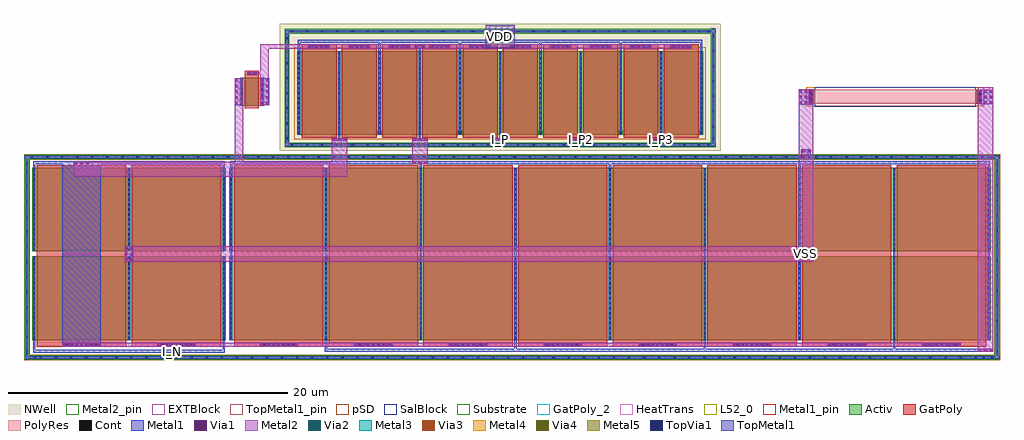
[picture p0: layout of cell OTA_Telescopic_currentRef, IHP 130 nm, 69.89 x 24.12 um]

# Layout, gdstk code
from math import pi, radians
import gdstk
lib = gdstk.Library(unit=1e-6, precision=1e-09)
def R(c, l, rs):  # rectangles x0, y0, x1, y1
    for r in rs: c.add(gdstk.rectangle(r[:2], r[2:], *l))
def A(c, l, x, y, w, h, nx, ny, dx, dy):  # array of equal rectangles
    R(c, l, [(x+i*dx, y+j*dy, x+i*dx+w, y+j*dy+h) for i in range(nx) for j in range(ny)])
Activ = (1, 0)
GatPoly = (5, 0)
GatPoly_2 = (5, 2)
Cont = (6, 0)
Metal1 = (8, 0)
Metal1_pin = (8, 2)
Metal2 = (10, 0)
Metal2_pin = (10, 2)
pSD = (14, 0)
Via1 = (19, 0)
SalBlock = (28, 0)
Via2 = (29, 0)
Metal3 = (30, 0)
NWell = (31, 0)
Substrate = (40, 0)
Via3 = (49, 0)
Metal4 = (50, 0)
HeatTrans = (51, 0)
L52_0 = (52, 0)
Via4 = (66, 0)
Metal5 = (67, 0)
EXTBlock = (111, 0)
TopVia1 = (125, 0)
TopMetal1 = (126, 0)
TopMetal1_pin = (126, 2)
PolyRes = (128, 0)

nmos_1 = lib.new_cell('nmos$1')
R(nmos_1, Activ, [(0,0,0.3,0.3), (0,0,1.68,2), (1.38,0,1.68,0.3)])
R(nmos_1, GatPoly, [(0.34,-0.18,1.34,2.18)])
R(nmos_1, GatPoly_2, [(0.34,-0.18,1.34,2.18)])
A(nmos_1, Cont, 0.07, 0.07, 0.16, 0.16, 1, 6, 0, 0.34)
A(nmos_1, Cont, 1.45, 0.07, 0.16, 0.16, 1, 6, 0, 0.34)
R(nmos_1, Metal1, [(0.07,0,0.23,2), (1.45,0,1.61,2)])
R(nmos_1, Metal1_pin, [(0.07,0,0.23,2), (1.45,0,1.61,2)])
R(nmos_1, HeatTrans, [(0.34,-0.18,1.34,2.18)])
nmos_1.add(gdstk.Label('nmos', (0.84,1), layer=63, texttype=0))
nmos_1.add(gdstk.Label('nmos', (0.84,1), layer=51, texttype=0))

pmos_1 = lib.new_cell('pmos$1')
A(pmos_1, Activ, 0, 0, 0.3, 0.3, 3, 1, 2.88, 0)
R(pmos_1, Activ, [(0,0,6.06,6)])
R(pmos_1, GatPoly, [(0.34,-0.18,2.84,6.18), (0.34,-0.18,2.84,6.18), (3.22,-0.18,5.72,6.18)])
A(pmos_1, Cont, 0.07, 0.07, 0.16, 0.16, 3, 4, 2.88, 0.355)
A(pmos_1, Cont, 0.07, 1.495, 0.16, 0.16, 3, 4, 2.88, 0.355)
A(pmos_1, Cont, 0.07, 2.92, 0.16, 0.16, 3, 4, 2.88, 0.355)
A(pmos_1, Cont, 0.07, 4.345, 0.16, 0.16, 3, 4, 2.88, 0.355)
A(pmos_1, Cont, 0.07, 5.77, 0.16, 0.16, 3, 1, 2.88, 0)
R(pmos_1, Metal1, [(0.07,0,0.23,6), (0.07,0,0.23,6), (2.95,0,3.11,6), (2.95,0,3.11,6), (5.83,0,5.99,6)])
R(pmos_1, pSD, [(-0.18,-0.3,6.24,6.3)])
R(pmos_1, NWell, [(-0.31,-0.31,6.37,6.31)])
R(pmos_1, Substrate, [(5.76,0,6.06,0.3)])
R(pmos_1, HeatTrans, [(0.34,-0.18,2.84,6.18), (3.22,-0.18,5.72,6.18)])
pmos_1.add(gdstk.Label('pmos', (1.59,3), layer=63, texttype=0))
pmos_1.add(gdstk.Label('pmos', (1.59,3), layer=51, texttype=0))
pmos_1.add(gdstk.Label('pmos', (4.47,3), layer=51, texttype=0))

rppd_1 = lib.new_cell('rppd$1')
R(rppd_1, GatPoly, [(0,-0.43,1,-0.2), (0,-0.2,1,0), (0,11.5,1,11.7), (0,11.7,1,11.93)])
R(rppd_1, Cont, [(0.07,-0.36,0.93,-0.2), (0.07,11.7,0.93,11.86)])
R(rppd_1, Metal1, [(0.02,-0.43,0.98,-0.13), (0.02,11.63,0.98,11.93)])
R(rppd_1, Metal1_pin, [(0.02,-0.43,0.98,-0.13), (0.02,11.63,0.98,11.93)])
R(rppd_1, pSD, [(-0.18,-0.61,1.18,0), (-0.18,0,1.18,11.5), (-0.18,11.5,1.18,12.11)])
R(rppd_1, SalBlock, [(-0.2,0,1.2,11.5)])
R(rppd_1, L52_0, [(0,0,1,11.5)])
R(rppd_1, EXTBlock, [(-0.18,-0.61,1.18,0), (-0.2,0,1.2,11.5), (-0.18,11.5,1.18,12.11)])
R(rppd_1, PolyRes, [(0,0,1,11.5)])
rppd_1.add(gdstk.Label('rppd r=3042.167', (0.5,5.75), layer=63, texttype=0))
rppd_1.add(gdstk.Label('rppd', (0.5,5.75), layer=52, texttype=0))

nmos = lib.new_cell('nmos')
A(nmos, Activ, 0, 0, 0.3, 0.3, 3, 1, 6.78, 0)
R(nmos, Activ, [(0,0,13.86,6)])
R(nmos, GatPoly, [(0.34,-0.18,6.74,6.18), (7.12,-0.18,13.52,6.18)])
R(nmos, GatPoly_2, [(0.34,-0.18,6.74,6.18)])
A(nmos, Cont, 0.07, 0.07, 0.16, 0.16, 3, 4, 6.78, 0.355)
A(nmos, Cont, 0.07, 1.495, 0.16, 0.16, 3, 4, 6.78, 0.355)
A(nmos, Cont, 0.07, 2.92, 0.16, 0.16, 3, 4, 6.78, 0.355)
A(nmos, Cont, 0.07, 4.345, 0.16, 0.16, 3, 4, 6.78, 0.355)
A(nmos, Cont, 0.07, 5.77, 0.16, 0.16, 3, 1, 6.78, 0)
A(nmos, Metal1, 0.07, 0, 0.16, 6, 3, 1, 6.78, 0)
R(nmos, Metal1_pin, [(0.07,0,0.23,6), (6.85,0,7.01,6)])
R(nmos, HeatTrans, [(0.34,-0.18,6.74,6.18), (7.12,-0.18,13.52,6.18)])
nmos.add(gdstk.Label('nmos', (3.54,3), layer=63, texttype=0))
nmos.add(gdstk.Label('nmos', (3.54,3), layer=51, texttype=0))
nmos.add(gdstk.Label('nmos', (10.32,3), layer=51, texttype=0))

via_stack = lib.new_cell('via_stack')
R(via_stack, GatPoly, [(-1.17,-0.15,1.17,0.15)])
A(via_stack, Cont, -1.1, -0.08, 0.16, 0.16, 7, 1, 0.34, 0)
R(via_stack, Metal1, [(-1.375,-0.105,1.375,0.105)])
R(via_stack, Metal2, [(-1.375,-0.1,1.375,0.1)])
A(via_stack, Via1, -1.325, -0.095, 0.19, 0.19, 7, 1, 0.41, 0)

gate2metal = lib.new_cell('gate2Metal')
R(gate2metal, GatPoly, [(0,0,6.4,0.3)])
gate2metal.add(gdstk.Reference(via_stack, (3.2,0.15)))

metal1_16x22 = lib.new_cell('metal1_16x22')

metal1_16x36 = lib.new_cell('metal1_16x36')
R(metal1_16x36, Metal1, [(0,0,0.16,0.36)])

metal1m2 = lib.new_cell('Metal1M2')
R(metal1m2, Metal1, [(0,0,0.16,0.22)])

m2_wroutings = lib.new_cell('M2_wRoutings')
A(m2_wroutings, Metal1, 6.85, 0.22, 0.16, 0.615, 4, 1, 13.56, 0)
R(m2_wroutings, Metal1, [(6.85,0,54.69,0.22), (0.07,13.415,54.47,13.635)])
r = gdstk.Reference(nmos, (0,0.835)); r.repetition = gdstk.Repetition(4, 2, v1=(13.56,0), v2=(0,6.36)); m2_wroutings.add(r)
r = gdstk.Reference(gate2metal, (0.34,0.355)); r.repetition = gdstk.Repetition(8, 1, v1=(6.78,0), v2=(0,0)); m2_wroutings.add(r)
r = gdstk.Reference(metal1_16x22, (0.07,13.195)); r.repetition = gdstk.Repetition(5, 1, v1=(13.56,0), v2=(0,0)); m2_wroutings.add(r)
r = gdstk.Reference(metal1_16x36, (0.07,6.835)); r.repetition = gdstk.Repetition(9, 1, v1=(6.78,0), v2=(0,0)); m2_wroutings.add(r)
r = gdstk.Reference(metal1m2, (0.07,13.195)); r.repetition = gdstk.Repetition(5, 1, v1=(13.56,0), v2=(0,0)); m2_wroutings.add(r)

m1m7_wroutings = lib.new_cell('M1M7_wRoutings')
R(m1m7_wroutings, Metal1, [(6.85,6.48,7.01,6.84)])
m1m7_wroutings.add(gdstk.Reference(nmos, (0,6.84)))
m1m7_wroutings.add(gdstk.Reference(gate2metal, (7.12,0)))
m1m7_wroutings.add(gdstk.Reference(gate2metal, (0.34,0)))
m1m7_wroutings.add(gdstk.Reference(nmos, (0,0.48)))

metal1_16x22_1 = lib.new_cell('metal1_16x22$1')
R(metal1_16x22_1, Metal1, [(0,0,0.16,0.615)])

via_stack_2 = lib.new_cell('via_stack$2')
R(via_stack_2, GatPoly, [(-0.66,-0.15,0.66,0.15)])
A(via_stack_2, Cont, -0.59, -0.08, 0.16, 0.16, 4, 1, 0.34, 0)
R(via_stack_2, Metal1, [(-0.76,-0.105,0.76,0.105)])
R(via_stack_2, Metal2, [(-0.76,-0.1,0.76,0.1)])
A(via_stack_2, Via1, -0.71, -0.095, 0.19, 0.19, 4, 1, 0.41, 0)

gate2metalpmos = lib.new_cell('gate2metalPmos')
R(gate2metalpmos, GatPoly, [(0,0,2.5,0.3)])
gate2metalpmos.add(gdstk.Reference(via_stack_2, (1.24,0.15)))

via_stack_5 = lib.new_cell('via_stack$5')
R(via_stack_5, Metal1, [(-0.555,-0.105,0.555,0.105)])
R(via_stack_5, Metal2, [(-0.555,-0.1,0.555,0.1)])
A(via_stack_5, Via1, -0.505, -0.095, 0.19, 0.19, 3, 1, 0.41, 0)

drainpmos2metal2 = lib.new_cell('DrainPmos2Metal2')
R(drainpmos2metal2, Metal1, [(0.475,0.21,0.635,0.43)])
drainpmos2metal2.add(gdstk.Reference(via_stack_5, (0.555,0.105)))

bulk_pmos = lib.new_cell('Bulk_PMOS')
R(bulk_pmos, Activ, [(0.34,0.24,1.42,0.58)])
R(bulk_pmos, Cont, [(0.8,0.33,0.96,0.49)])
R(bulk_pmos, Metal1, [(0.34,0.33,1.42,0.49)])
R(bulk_pmos, Metal1_pin, [(0.34,0.33,1.42,0.49)])
R(bulk_pmos, NWell, [(0,0,1.76,0.82)])

via_stack_4 = lib.new_cell('via_stack$4')
R(via_stack_4, Metal1, [(-0.35,-0.105,0.35,0.105)])
R(via_stack_4, Metal2, [(-0.35,-0.1,0.35,0.1)])
R(via_stack_4, Via1, [(-0.3,-0.095,-0.11,0.095), (0.11,-0.095,0.3,0.095)])

via_stack_7 = lib.new_cell('via_stack$7')
R(via_stack_7, Metal1, [(-0.76,-0.31,0.76,0.31)])
R(via_stack_7, Metal2, [(-0.76,-0.305,0.76,0.305)])
A(via_stack_7, Via1, -0.71, -0.3, 0.19, 0.19, 4, 2, 0.41, 0.41)
A(via_stack_7, Via2, -0.71, -0.3, 0.19, 0.19, 4, 2, 0.41, 0.41)
R(via_stack_7, Metal3, [(-0.76,-0.305,0.76,0.305)])
A(via_stack_7, Via3, -0.71, -0.3, 0.19, 0.19, 4, 2, 0.41, 0.41)
R(via_stack_7, Metal4, [(-0.76,-0.305,0.76,0.305)])
A(via_stack_7, Via4, -0.71, -0.3, 0.19, 0.19, 4, 2, 0.41, 0.41)
R(via_stack_7, Metal5, [(-0.76,-0.31,0.76,0.31)])
R(via_stack_7, TopVia1, [(-0.63,-0.21,-0.21,0.21), (0.21,-0.21,0.63,0.21)])
R(via_stack_7, TopMetal1, [(-1.05,-0.82,1.05,0.82)])

bulk_nmos = lib.new_cell('Bulk_NMOS')
R(bulk_nmos, Activ, [(0.03,0.03,1.11,0.37)])
R(bulk_nmos, Cont, [(0.49,0.12,0.65,0.28)])
R(bulk_nmos, Metal1, [(0.03,0.12,1.11,0.28)])
R(bulk_nmos, Metal1_pin, [(0.03,0.12,1.11,0.28)])
R(bulk_nmos, pSD, [(0,0,1.14,0.4)])

via_stack_8 = lib.new_cell('via_stack$8')
R(via_stack_8, Metal1, [(-0.555,-0.515,0.555,0.515)])
R(via_stack_8, Metal2, [(-0.555,-0.51,0.555,0.51)])
A(via_stack_8, Via1, -0.505, -0.505, 0.19, 0.19, 3, 3, 0.41, 0.41)

via_stack_11 = lib.new_cell('via_stack$11')
R(via_stack_11, Metal1, [(-0.555,-0.31,0.555,0.31)])
R(via_stack_11, Metal2, [(-0.555,-0.305,0.555,0.305)])
A(via_stack_11, Via1, -0.505, -0.3, 0.19, 0.19, 3, 2, 0.41, 0.41)

via_stack_9 = lib.new_cell('via_stack$9')
R(via_stack_9, Metal1, [(-0.35,-0.31,0.35,0.31)])
R(via_stack_9, Metal2, [(-0.35,-0.305,0.35,0.305)])
R(via_stack_9, Via1, [(-0.3,-0.3,-0.11,-0.11), (0.11,-0.3,0.3,-0.11), (-0.3,0.11,-0.11,0.3), (0.11,0.11,0.3,0.3)])

via_stack_10 = lib.new_cell('via_stack$10')
R(via_stack_10, GatPoly, [(-0.32,-0.15,0.32,0.15)])
R(via_stack_10, Cont, [(-0.25,-0.08,-0.09,0.08), (0.09,-0.08,0.25,0.08)])
R(via_stack_10, Metal1, [(-0.35,-0.105,0.35,0.105)])
R(via_stack_10, Metal2, [(-0.35,-0.1,0.35,0.1)])
R(via_stack_10, Via1, [(-0.3,-0.095,-0.11,0.095), (0.11,-0.095,0.3,0.095)])

via_stack_15 = lib.new_cell('via_stack$15')
R(via_stack_15, Metal1, [(-0.965,-0.31,0.965,0.31)])
R(via_stack_15, Metal2, [(-0.965,-0.305,0.965,0.305)])
A(via_stack_15, Via1, -0.915, -0.3, 0.19, 0.19, 5, 2, 0.41, 0.41)

ota_telescopic_currentre = lib.new_cell('OTA_Telescopic_currentRef')
R(ota_telescopic_currentre, GatPoly, [(81.255,15.225,82.255,15.525)])
R(ota_telescopic_currentre, Metal1, [(66.1,-4.67,79.82,-4.45), (66.1,-4.45,66.26,-3.75), (79.66,-4.45,79.82,-3.75), (68.195,-3.975,70.945,8.83), (66.1,8.61,66.26,8.83), (79.66,8.61,79.82,8.83), (66.1,8.83,79.82,9.05), (93.7,16.94,93.86,17.375), (85.06,17.555,114.02,17.775)])
R(ota_telescopic_currentre, Metal1_pin, [(76.05,-4.635,76.225,-4.485)])
R(ota_telescopic_currentre, Metal2, [(133.72,-4.585,134.83,14.35), (68.195,-4.23,132.515,-3.93), (72.65,1.875,121.945,2.985), (120.92,1.875,121.945,13.11), (69.015,7.94,88.57,9.04), (87.465,7.94,88.575,10.515), (93.225,8.83,94.335,10.72), (80.53,9.04,81.14,13.08), (82.37,15.01,82.98,17.42), (82.12,15.275,82.37,15.475), (82.37,17.12,113.25,17.42)])
R(ota_telescopic_currentre, Metal2_pin, [(120.92,1.875,121.945,2.98), (99.475,10.52,99.665,10.71), (105.24,10.52,105.43,10.71), (111.015,10.52,111.205,10.71)])
R(ota_telescopic_currentre, NWell, [(83.76,9.81,115.32,18.915)])
R(ota_telescopic_currentre, TopMetal1_pin, [(98.49,17.15,100.59,18.79)])
ota_telescopic_currentre.add(gdstk.Reference(nmos_1, (80.915,13.045)))
r = gdstk.Reference(pmos_1, (84.99,10.94)); r.repetition = gdstk.Repetition(5, 1, v1=(5.76,0), v2=(0,0)); ota_telescopic_currentre.add(r)
ota_telescopic_currentre.add(gdstk.Reference(rppd_1, (133.58,13.17), rotation=pi/2))
ota_telescopic_currentre.add(gdstk.Reference(m2_wroutings, (80.14,-4.585)))
ota_telescopic_currentre.add(gdstk.Reference(m1m7_wroutings, (66.03,-4.23)))
r = gdstk.Reference(metal1_16x22_1, (85.06,16.94)); r.repetition = gdstk.Repetition(6, 1, v1=(5.76,0), v2=(0,0)); ota_telescopic_currentre.add(r)
r = gdstk.Reference(gate2metalpmos, (85.33,17.12)); r.repetition = gdstk.Repetition(10, 1, v1=(2.88,0), v2=(0,0)); ota_telescopic_currentre.add(r)
ota_telescopic_currentre.add(gdstk.Reference(metal1_16x22, (87.94,10.72)))
r = gdstk.Reference(drainpmos2metal2, (87.465,10.51)); r.repetition = gdstk.Repetition(5, 1, v1=(5.76,0), v2=(0,0)); ota_telescopic_currentre.add(r)
r = gdstk.Reference(bulk_pmos, (83.76,9.81)); r.repetition = gdstk.Repetition(28, 1, v1=(1.08,0), v2=(0,0)); ota_telescopic_currentre.add(r)
ota_telescopic_currentre.add(gdstk.Reference(via_stack_5, (69.57,8.94)))
ota_telescopic_currentre.add(gdstk.Reference(via_stack_4, (93.78,17.27)))
ota_telescopic_currentre.add(gdstk.Reference(bulk_pmos, (113.56,9.81)))
r = gdstk.Reference(bulk_pmos, (84.68,9.81), rotation=pi/2); r.repetition = gdstk.Repetition(7, 1, v1=(0,1.08), v2=(0,0)); ota_telescopic_currentre.add(r)
ota_telescopic_currentre.add(gdstk.Reference(bulk_pmos, (84.68,17.01), rotation=pi/2))
r = gdstk.Reference(bulk_pmos, (115.215,10.675), rotation=pi/2); r.repetition = gdstk.Repetition(7, 1, v1=(0,1.08), v2=(0,0)); ota_telescopic_currentre.add(r)
ota_telescopic_currentre.add(gdstk.Reference(bulk_pmos, (113.56,17.95)))
r = gdstk.Reference(bulk_pmos, (83.76,17.95)); r.repetition = gdstk.Repetition(28, 1, v1=(1.08,0), v2=(0,0)); ota_telescopic_currentre.add(r)
ota_telescopic_currentre.add(gdstk.Reference(via_stack_7, (99.54,17.97)))
ota_telescopic_currentre.add(gdstk.Reference(bulk_pmos, (115.215,9.81), rotation=pi/2))
r = gdstk.Reference(bulk_nmos, (65.44,9.17)); r.repetition = gdstk.Repetition(64, 1, v1=(1.08,0), v2=(0,0)); ota_telescopic_currentre.add(r)
ota_telescopic_currentre.add(gdstk.Reference(via_stack_5, (134.275,-4.475)))
ota_telescopic_currentre.add(gdstk.Reference(via_stack_8, (134.275,13.665)))
r = gdstk.Reference(bulk_nmos, (65.84,-5.2), rotation=pi/2); r.repetition = gdstk.Repetition(13, 1, v1=(0,1.08), v2=(0,0)); ota_telescopic_currentre.add(r)
ota_telescopic_currentre.add(gdstk.Reference(bulk_nmos, (65.66,-5.2)))
ota_telescopic_currentre.add(gdstk.Reference(bulk_nmos, (65.84,8.34), rotation=pi/2))
ota_telescopic_currentre.add(gdstk.Reference(via_stack_11, (72.96,2.43), rotation=pi/2))
ota_telescopic_currentre.add(gdstk.Reference(via_stack_8, (121.435,13.665), rotation=pi/2))
ota_telescopic_currentre.add(gdstk.Reference(via_stack_5, (93.78,8.94)))
ota_telescopic_currentre.add(gdstk.Reference(via_stack_9, (121.445,9.6)))
ota_telescopic_currentre.add(gdstk.Reference(via_stack_10, (81.77,15.375)))
r = gdstk.Reference(bulk_nmos, (135.33,-5.11), rotation=pi/2); r.repetition = gdstk.Repetition(13, 1, v1=(0,1.08), v2=(0,0)); ota_telescopic_currentre.add(r)
r = gdstk.Reference(bulk_nmos, (66.07,-5.2)); r.repetition = gdstk.Repetition(63, 1, v1=(1.08,0), v2=(0,0)); ota_telescopic_currentre.add(r)
ota_telescopic_currentre.add(gdstk.Reference(bulk_nmos, (134.19,-5.2)))
ota_telescopic_currentre.add(gdstk.Reference(bulk_nmos, (133.59,-5.2)))
ota_telescopic_currentre.add(gdstk.Reference(bulk_nmos, (134.19,9.17)))
ota_telescopic_currentre.add(gdstk.Reference(bulk_nmos, (135.33,8.34), rotation=pi/2))
ota_telescopic_currentre.add(gdstk.Reference(via_stack_15, (82.675,14.045), rotation=pi/2))
ota_telescopic_currentre.add(gdstk.Reference(via_stack_15, (80.835,14.045), rotation=pi/2))
ota_telescopic_currentre.add(gdstk.Label('VDD', (99.485,18.015), layer=126, texttype=25))
ota_telescopic_currentre.add(gdstk.Label('VSS', (121.42,2.43), layer=10, texttype=25))
ota_telescopic_currentre.add(gdstk.Label('I_P', (99.57,10.615), layer=10, texttype=25))
ota_telescopic_currentre.add(gdstk.Label('I_P2', (105.335,10.615), layer=10, texttype=25))
ota_telescopic_currentre.add(gdstk.Label('I_P3', (111.11,10.615), layer=10, texttype=25))
ota_telescopic_currentre.add(gdstk.Label('I_N', (76.095,-4.58), layer=8, texttype=25))

lib.write_gds('OTA_Telescopic_currentRef.gds')
